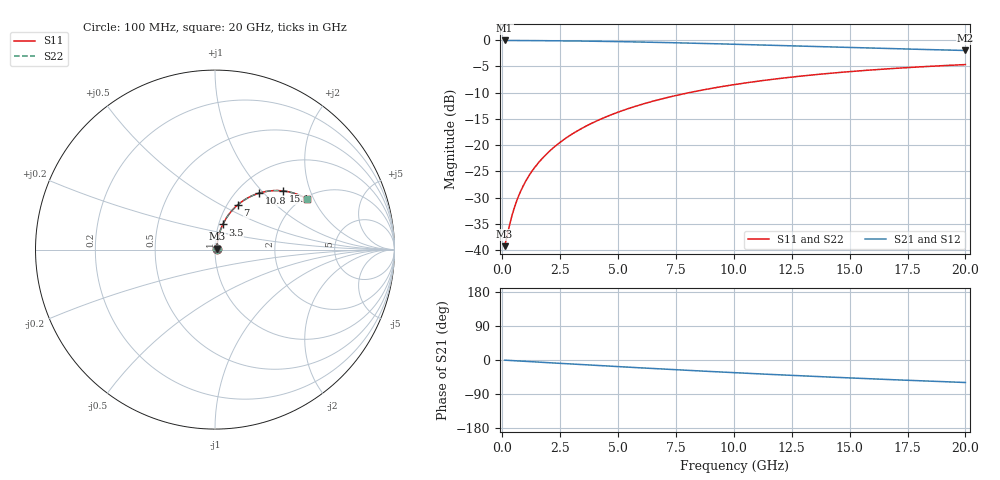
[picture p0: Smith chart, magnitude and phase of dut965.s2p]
! Touchstone file exported from HFSS 2026.1.0
!  File:  C:/ffzhzh/LocalFiles/Ansys_Project_Files/temp_train_BSMRDL_965_1783172488_43440.aedt
!  Generated:  09:42:56 PM Jul  4, 2026
!  Design:  BSMRDL
!  Project:  temp_train_BSMRDL_965_1783172488_43440
! Variables:
!  h_bsmrdl = 2.43um
!  h_ox = 20um
!  h_rdl = 5um
!  h_sub = 80um
!  h_tmrdl = 5um
!  h_tsv = 80um
!  h_via = 3um
!  l_bsmrdl = 882.87um
!  l_sub = 1282.87um
!  l_tmrdl = 200um
!  m_sub = 200um
!  pitch = 41.44um
!  r_tsv = 6um
!  s_tmrdl = 10um
!  w_bsmrdl = 12.84um
!  w_sub = 500um
!  w_tmrdl = 12um
!  x_tsv_center1 = 206um
!  x_tsv_center2 = 1101.71um
!  x_tsv_center3 = 1313.71um
!  x_tsv_center4 = 2209.42um
!  x_tsv_center5 = 2421.42um
!  x_tsv_center6 = 3317.13um
# GHz S MA R 50.000000
! Terminal data exported
! Port[1] = BSM_RDL1_1_T1
! Port[2] = BSM_RDL1_1_T2
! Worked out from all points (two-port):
!   200 points, 100 MHz to 20 GHz, reference 50 ohm
!   highest |S21| = -0.09 dB at 100 MHz (marker M1); lowest = -2.0 dB at 20 GHz (marker M2)
!   |S21| within 3 dB of the highest: start of sweep to end of sweep
!   lowest |S11| = -39.2 dB at 100 MHz (marker M3), VSWR 1.02, Z = 51 + j0.453 ohm
!   |S11| at or under -10 dB: start of sweep to 8.09 GHz
!   |S22| runs from -39.2 to -4.7 dB; largest |S21 - S12| = 2e-15
!   S11 on the Smith chart (normalised r, x): 100 MHz: 1.02, +0.01; 3.5 GHz: 1.05, +0.30; 7 GHz: 1.12, +0.60; 10.8 GHz: 1.26, +0.94; 15.1 GHz: 1.53, +1.34; 20 GHz: 2.06, +1.77
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0.1  0.01093 24.0  0.99 -0.4  0.99 -0.4  0.01093 24.0
! Gamma 0 0 0 0
! Port Impedance 50 0 50 0
0.4  0.02062 58.5  0.9895 -1.5  0.9895 -1.5  0.02062 58.5
0.6  0.02858 65.9  0.989 -2.2  0.989 -2.2  0.02858 65.9
0.7  0.03265 68.1  0.9887 -2.5  0.9887 -2.5  0.03265 68.1
0.9  0.04082 70.9  0.9881 -3.3  0.9881 -3.3  0.04082 70.9
1.2  0.05312 73.2  0.9872 -4.3  0.9872 -4.3  0.05312 73.2
1.4  0.06133 74.0  0.9866 -5.0  0.9866 -5.0  0.06133 74.0
1.7  0.07367 74.7  0.9855 -6.1  0.9855 -6.1  0.07367 74.7
2.2  0.0942 74.8  0.9835 -7.8  0.9835 -7.8  0.0942 74.8
2.8  0.1187 74.1  0.9807 -9.9  0.9807 -9.9  0.1187 74.1
3.5  0.147 72.8  0.9766 -12.3  0.9766 -12.3  0.147 72.8
4.2  0.1748 71.1  0.9718 -14.7  0.9718 -14.7  0.1748 71.1
5  0.2058 68.9  0.9655 -17.4  0.9655 -17.4  0.2058 68.9
6.8  0.2721 63.7  0.9484 -23.4  0.9484 -23.4  0.2721 63.7
7  0.2791 63.1  0.9463 -24.1  0.9463 -24.1  0.2791 63.1
8.5  0.3296 58.7  0.9296 -28.8  0.9296 -28.8  0.3296 58.7
10.1  0.3789 54.0  0.9102 -33.7  0.9102 -33.7  0.3789 54.0
10.8  0.3989 52.0  0.9015 -35.7  0.9015 -35.7  0.3989 52.0
13.4  0.4653 44.9  0.8688 -43.1  0.8688 -43.1  0.4653 44.9
15.1  0.5022 40.6  0.848 -47.6  0.848 -47.6  0.5022 40.6
16.7  0.5327 36.6  0.8294 -51.6  0.8294 -51.6  0.5327 36.6
20  0.5837 29.0  0.7948 -59.4  0.7948 -59.4  0.5837 29.0
